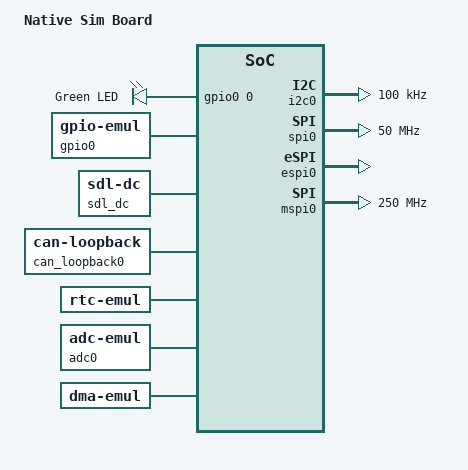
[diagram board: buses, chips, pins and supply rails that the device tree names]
/*
 * Copyright (c) 2019 Jan Van Winkel (jan.van_winkel@dxplore.eu)
 *
 * SPDX-License-Identifier: Apache-2.0
 */

/dts-v1/;
#include <posix/posix.dtsi>
#include <zephyr/dt-bindings/adc/adc.h>
#include <zephyr/dt-bindings/i2c/i2c.h>
#include <zephyr/dt-bindings/gpio/gpio.h>

/ {
	model = "Native Sim Board";
	compatible = "zephyr,posix";

	chosen {
		zephyr,console = &uart0;
		zephyr,shell-uart = &uart0;
		zephyr,uart-mcumgr = &uart0;
		zephyr,flash = &flash0;
		zephyr,entropy = &rng;
		zephyr,flash-controller = &flashcontroller0;
		zephyr,display = &sdl_dc;
		zephyr,canbus = &can_loopback0;
		zephyr,code-partition = &slot0_partition;
		zephyr,bt-hci = &bt_hci_userchan;
		zephyr,touch = &input_sdl_touch;
	};

	aliases {
		eeprom-0 = &eeprom0;
		i2c-0 = &i2c0;
		spi-0 = &spi0;
		led0 = &led0;
		rtc = &rtc;
	};

	leds {
		compatible = "gpio-leds";

		led0: led_0 {
			gpios = <&gpio0 0 GPIO_ACTIVE_HIGH>;
			label = "Green LED";
		};
	};

	cpus {
		#address-cells = <1>;
		#size-cells = <0>;

		cpu0: cpu@0 {
			compatible = "zephyr,native-sim-cpu";
			reg = <0>;
		};
	};

	flashcontroller0: flash-controller@0 {
		compatible = "zephyr,sim-flash";
		reg = <0x00000000 DT_SIZE_K(2048)>;

		#address-cells = <1>;
		#size-cells = <1>;
		erase-value = <0xff>;

		flash0: flash@0 {
			status = "okay";
			compatible = "soc-nv-flash";
			erase-block-size = <4096>;
			write-block-size = <1>;
			reg = <0x00000000 DT_SIZE_K(2048)>;

			partitions {
				compatible = "fixed-partitions";
				#address-cells = <1>;
				#size-cells = <1>;

				boot_partition: partition@0 {
					label = "mcuboot";
					reg = <0x00000000 0x0000C000>;
				};

				slot0_partition: partition@c000 {
					label = "image-0";
					reg = <0x0000C000 0x00069000>;
				};

				slot1_partition: partition@75000 {
					label = "image-1";
					reg = <0x00075000 0x00069000>;
				};

				scratch_partition: partition@de000 {
					label = "image-scratch";
					reg = <0x000de000 0x0001e000>;
				};

				storage_partition: partition@fc000 {
					label = "storage";
					reg = <0x000fc000 0x00004000>;
				};
			};
		};
	};

	eeprom0: eeprom {
		status = "okay";
		compatible = "zephyr,sim-eeprom";
		size = <DT_SIZE_K(32)>;
	};

	i2c0: i2c@100 {
		status = "okay";
		compatible = "zephyr,i2c-emul-controller";
		clock-frequency = <I2C_BITRATE_STANDARD>;
		#address-cells = <1>;
		#size-cells = <0>;
		#forward-cells = <1>;
		reg = <0x100 4>;
	};

	spi0: spi@200 {
		status = "okay";
		compatible = "zephyr,spi-emul-controller";
		clock-frequency = <50000000>;
		#address-cells = <1>;
		#size-cells = <0>;
		reg = <0x200 4>;
	};

	espi0: espi@300 {
		status = "okay";
		compatible = "zephyr,espi-emul-controller";
		reg = <0x300 4>;
		#address-cells = <1>;
		#size-cells = <0>;
	};

	mspi0: mspi@400 {
		status = "okay";
		compatible = "zephyr,mspi-emul-controller";
		clock-frequency = <250000000>;
		reg = <0x400 4>;
		#address-cells = <1>;
		#size-cells = <0>;
	};

	uart0: uart {
		status = "okay";
		compatible = "zephyr,native-pty-uart";
		/* Dummy current-speed entry to comply with serial
		 * DTS binding
		 */
		current-speed = <0>;
	};

	uart1: uart_1 {
		status = "disabled";
		compatible = "zephyr,native-pty-uart";
		/* Dummy current-speed entry to comply with serial
		 * DTS binding
		 */
		current-speed = <0>;
	};

	rng: rng {
		status = "okay";
		compatible = "zephyr,native-sim-rng";
	};

	counter0: counter {
		status = "okay";
		compatible = "zephyr,native-sim-counter";
	};

	gpio0: gpio_emul {
		status = "okay";
		compatible = "zephyr,gpio-emul";
		rising-edge;
		falling-edge;
		high-level;
		low-level;
		gpio-controller;
		#gpio-cells = <2>;
	};

	zephyr_udc0: udc0 {
		compatible = "zephyr,native-posix-udc";
	};

	sdl_dc: sdl_dc {
		compatible = "zephyr,sdl-dc";
		height = <240>;
		width = <320>;
	};

	input_sdl_touch: input-sdl-touch {
		compatible = "zephyr,input-sdl-touch";
		display = <&sdl_dc>;
	};

	can_loopback0: can_loopback0 {
		status = "okay";
		compatible = "zephyr,can-loopback";
	};

	can0: can {
		status = "disabled";
		compatible = "zephyr,native-linux-can";
		/* adjust zcan0 to desired host interface or create an alternative
		 * name, e.g.: sudo ip link property add dev vcan0 altname zcan0
		 */
		host-interface = "zcan0";
	};

	rtc: rtc {
		status = "okay";
		compatible = "zephyr,rtc-emul";
		alarms-count = <2>;
	};

	adc0: adc {
		compatible = "zephyr,adc-emul";
		nchannels = <2>;
		#io-channel-cells = <1>;
		status = "okay";
	};

	dma: dma {
		compatible = "zephyr,dma-emul";
		#dma-cells = <1>;
		stack-size = <4096>;
	};

	bt_hci_userchan: bt_hci_userchan {
		compatible = "zephyr,bt-hci-userchan";
		status = "okay";
	};

	performance-states {
		pstate_0: pstate_0 {
			compatible = "zephyr,native-sim-pstate";
			load-threshold = <50>;
			pstate-id = <0>;
		};

		pstate_1: pstate_1 {
			compatible = "zephyr,native-sim-pstate";
			load-threshold = <20>;
			pstate-id = <1>;
		};

		pstate_2: pstate_2 {
			compatible = "zephyr,native-sim-pstate";
			load-threshold = <0>;
			pstate-id = <2>;
		};
	};
};
